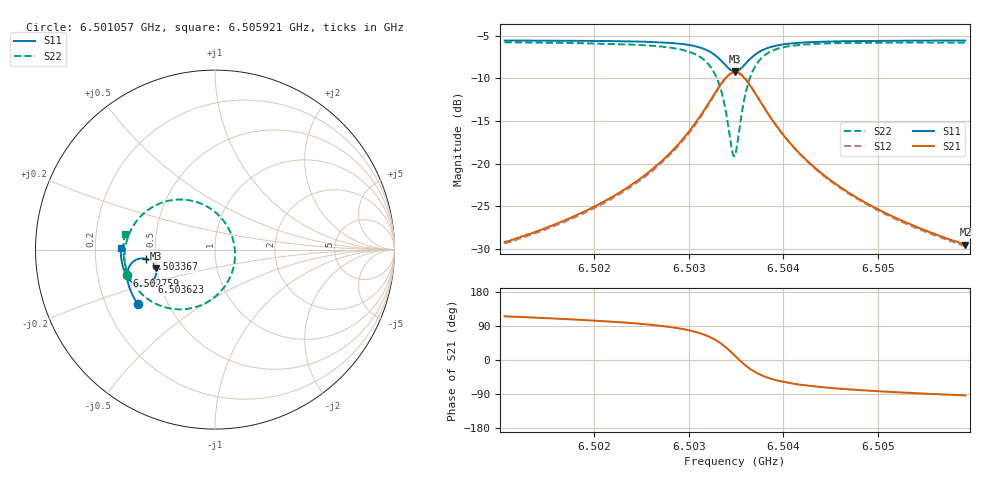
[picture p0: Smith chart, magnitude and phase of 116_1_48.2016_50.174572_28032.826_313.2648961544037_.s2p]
#  HZ  S  RI  R  50.00
! Rohde & Schwarz Vector Network Analyzer
! Rohde-Schwarz,ZNB20-2Port,1311601062101988,3.16
! Created: UTC 3/20/2024, 11:41:11 AM
! freq[Hz]  re:S11  im:S11  re:S21  im:S21  re:S12  im:S12  re:S22  im:S22
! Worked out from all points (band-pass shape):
!   401 points, 6.501057 GHz to 6.505921 GHz, reference 50 ohm
!   highest |S21| = -9.30 dB at 6.503489 GHz (marker M1); lowest = -29.5 dB at 6.505921 GHz (marker M2)
!   |S21| within 3 dB of the highest: 6.503245 GHz to 6.503732 GHz (486.5 kHz wide, 0.00748 % of centre)
!   lowest |S11| = -9.2 dB at 6.503489 GHz (marker M3), VSWR 2.06, Z = 24.7 - j5.79 ohm
!   |S11| at or under -10 dB: nowhere
!   |S22| runs from -19.1 to -5.8 dB; largest |S21 - S12| = 0.012
!   S11 on the Smith chart (normalised r, x): 6.501057 GHz: 0.34, -0.28; 6.502759 GHz: 0.33, -0.13; 6.503367 GHz: 0.44, -0.05; 6.503623 GHz: 0.45, -0.19; 6.505921 GHz: 0.31, +0.01
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6.5010569e9  -0.4312 -0.3021  -0.0148 0.0314  -0.0131 0.0314  -0.493 -0.1436
6.5018716e9  -0.4654 -0.2409  -0.0139 0.0498  -0.0115 0.0492  -0.5043 -0.0549
6.5023458e9  -0.4816 -0.1977  -0.0105 0.0712  -0.00728 0.07  -0.4992 0.0154
6.5026863e9  -0.4889 -0.1586  -0.00121 0.1002  0.00246 0.0976  -0.4786 0.0871
6.5027592e9  -0.4893 -0.1487  0.00287 0.1091  0.00652 0.1063  -0.4697 0.1067
6.5029659e9  -0.4855 -0.1154  0.0245 0.1433  0.0283 0.1388  -0.4242 0.1745
6.503124e9  -0.4705 -0.083  0.0644 0.1796  0.0674 0.1736  -0.3462 0.2384
6.5032699e9  -0.4321 -0.0535  0.1475 0.2085  0.1482 0.202  -0.1948 0.279
6.5033186e9  -0.4106 -0.0487  0.1906 0.2068  0.1908 0.2009  -0.1191 0.2699
6.5033672e9  -0.385 -0.051  0.2402 0.1911  0.2403 0.1862  -0.0345 0.2344
6.5034523e9  -0.3419 -0.0808  0.3188 0.1151  0.3213 0.1105  0.0911 0.084
6.5034888e9  -0.331 -0.1031  0.3364 0.0656  0.34 0.0597  0.1114 -0.00884
6.5035131e9  -0.328 -0.1196  0.3397 0.0307  0.3436 0.0234  0.1084 -0.0732
6.5035496e9  -0.3305 -0.1438  0.332 -0.0202  0.3354 -0.0293  0.08 -0.1627
6.5036225e9  -0.353 -0.1813  0.2844 -0.0967  0.2841 -0.1087  -0.0321 -0.2865
6.5037198e9  -0.3943 -0.2009  0.2053 -0.1403  0.2001 -0.1505  -0.1936 -0.3331
6.5038779e9  -0.4439 -0.1933  0.1165 -0.1394  0.1091 -0.145  -0.355 -0.288
6.5040481e9  -0.4732 -0.1721  0.0682 -0.1183  0.0615 -0.1208  -0.4336 -0.2201
6.5043035e9  -0.4957 -0.1407  0.0348 -0.0911  0.0299 -0.0919  -0.4815 -0.1416
6.5046682e9  -0.5113 -0.1019  0.0154 -0.067  0.012 -0.0666  -0.5044 -0.0657
6.5051181e9  -0.5209 -0.0597  0.00512 -0.0498  0.00294 -0.0492  -0.5106 0.000322
6.5059206e9  -0.5259 0.00866  -0.00208 -0.0335  -0.00331 -0.0327  -0.5034 0.0872
